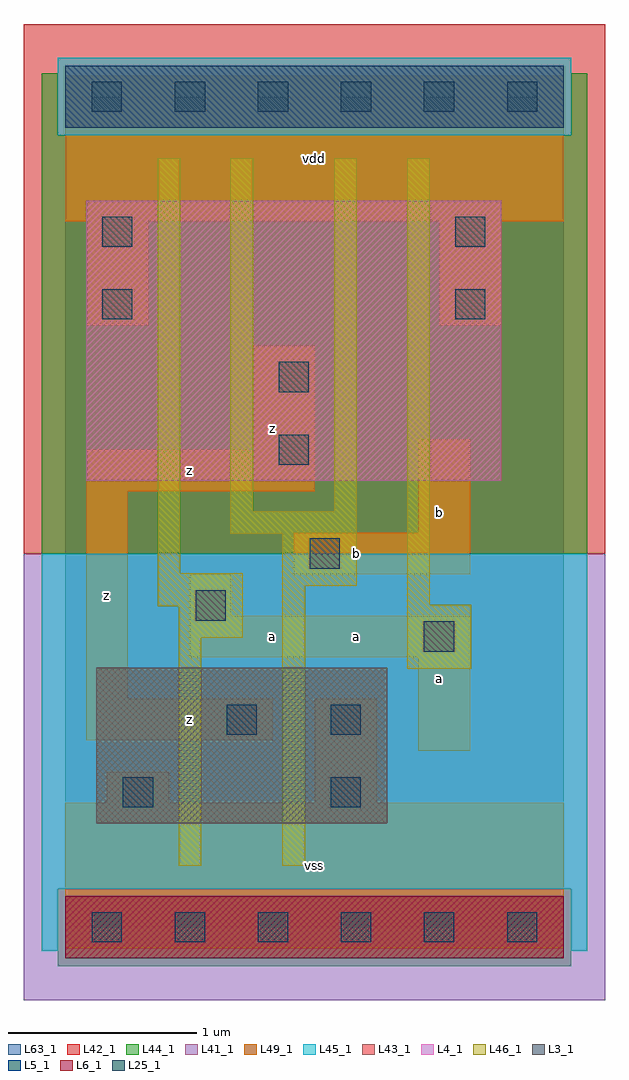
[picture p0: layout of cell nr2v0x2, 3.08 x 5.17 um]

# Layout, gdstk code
import gdstk
lib = gdstk.Library(unit=1e-6, precision=1e-09)
def R(c, l, rs):  # rectangles x0, y0, x1, y1
    for r in rs: c.add(gdstk.rectangle(r[:2], r[2:], *l))
def A(c, l, x, y, w, h, nx, ny, dx, dy):  # array of equal rectangles
    R(c, l, [(x+i*dx, y+j*dy, x+i*dx+w, y+j*dy+h) for i in range(nx) for j in range(ny)])
L3_1 = (3, 1)
L4_1 = (4, 1)
L5_1 = (5, 1)
L6_1 = (6, 1)
L25_1 = (25, 1)
L41_1 = (41, 1)
L42_1 = (42, 1)
L43_1 = (43, 1)
L44_1 = (44, 1)
L45_1 = (45, 1)
L46_1 = (46, 1)
L49_1 = (49, 1)
L63_1 = (63, 1)

nr2v0x2 = lib.new_cell('nr2v0x2')
R(nr2v0x2, L3_1, [(0.165,0.55,1.705,1.375)])
R(nr2v0x2, L4_1, [(0.11,2.365,2.31,3.85)])
R(nr2v0x2, L5_1, [(0,4.235,2.64,4.565)])
R(nr2v0x2, L6_1, [(0,-0.165,2.64,0.165)])
A(nr2v0x2, L25_1, 0.14, -0.08, 0.16, 0.16, 6, 2, 0.44, 4.4)
R(nr2v0x2, L25_1, [(0.305,0.635,0.465,0.795), (1.405,0.635,1.565,0.795), (0.855,1.02,1.015,1.18), (1.405,1.02,1.565,1.18), (1.9,1.46,2.06,1.62), (0.69,1.625,0.85,1.785), (1.295,1.9,1.455,2.06), (1.13,2.45,1.29,2.61), (1.13,2.835,1.29,2.995), (0.195,3.22,0.355,3.38), (2.065,3.22,2.225,3.38), (0.195,3.605,0.355,3.765), (2.065,3.605,2.225,3.765)])
R(nr2v0x2, L41_1, [(-0.22,-0.385,2.86,1.98)])
R(nr2v0x2, L42_1, [(-0.22,1.98,2.86,4.785)])
R(nr2v0x2, L43_1, [(0,-0.165,2.64,0.165), (0.165,0.55,1.705,1.375), (0.11,2.365,2.31,3.85), (0,4.235,2.64,4.565)])
R(nr2v0x2, L44_1, [(-0.04,-0.205,2.68,0.205), (-0.125,1.98,2.765,4.195), (-0.125,4.195,-0.04,4.525), (2.68,4.195,2.765,4.525)])
R(nr2v0x2, L45_1, [(-0.125,-0.125,-0.04,0.205), (2.68,-0.125,2.765,0.205), (-0.125,0.205,2.765,1.98), (-0.04,4.195,2.68,4.605)])
R(nr2v0x2, L46_1, [(0.6,0.325,0.72,1.535), (1.15,0.325,1.27,1.81), (1.81,1.37,2.15,1.71), (0.6,1.535,0.94,1.7), (0.49,1.7,0.94,1.875), (1.81,1.71,1.93,4.075), (1.15,1.81,1.545,2.085), (0.49,1.875,0.61,4.075), (0.875,2.085,1.545,2.205), (0.875,2.205,0.995,4.075), (1.425,2.205,1.545,4.075)])
R(nr2v0x2, L49_1, [(0,-0.11,2.64,0.66), (0.22,0.66,0.55,0.825), (1.32,0.66,1.65,1.21), (1.87,0.935,2.145,1.43), (0.11,0.99,1.1,1.21), (0.11,1.21,0.33,2.31), (0.66,1.43,2.145,1.65), (0.66,1.65,0.88,1.87), (1.21,1.87,2.145,2.09), (1.87,2.09,2.145,2.585), (0.11,2.31,1.32,2.53), (0.99,2.53,1.32,3.08), (0.11,3.19,0.44,3.74), (1.98,3.19,2.31,3.74), (0,3.74,2.64,4.51)])
R(nr2v0x2, L63_1, [(0,0,2.64,4.4)])
nr2v0x2.add(gdstk.Label('z', (0.22,1.76), layer=49, texttype=1))
nr2v0x2.add(gdstk.Label('z', (0.66,1.1), layer=49, texttype=1))
nr2v0x2.add(gdstk.Label('a', (1.1,1.54), layer=49, texttype=1))
nr2v0x2.add(gdstk.Label('z', (0.66,2.42), layer=49, texttype=1))
nr2v0x2.add(gdstk.Label('z', (1.1,2.64), layer=49, texttype=1))
nr2v0x2.add(gdstk.Label('vss', (1.32,0.33), layer=49, texttype=1))
nr2v0x2.add(gdstk.Label('a', (1.54,1.54), layer=49, texttype=1))
nr2v0x2.add(gdstk.Label('b', (1.54,1.98), layer=49, texttype=1))
nr2v0x2.add(gdstk.Label('vdd', (1.32,4.07), layer=49, texttype=1))
nr2v0x2.add(gdstk.Label('a', (1.98,1.32), layer=49, texttype=1))
nr2v0x2.add(gdstk.Label('b', (1.98,2.2), layer=49, texttype=1))

lib.write_gds('nr2v0x2.gds')
